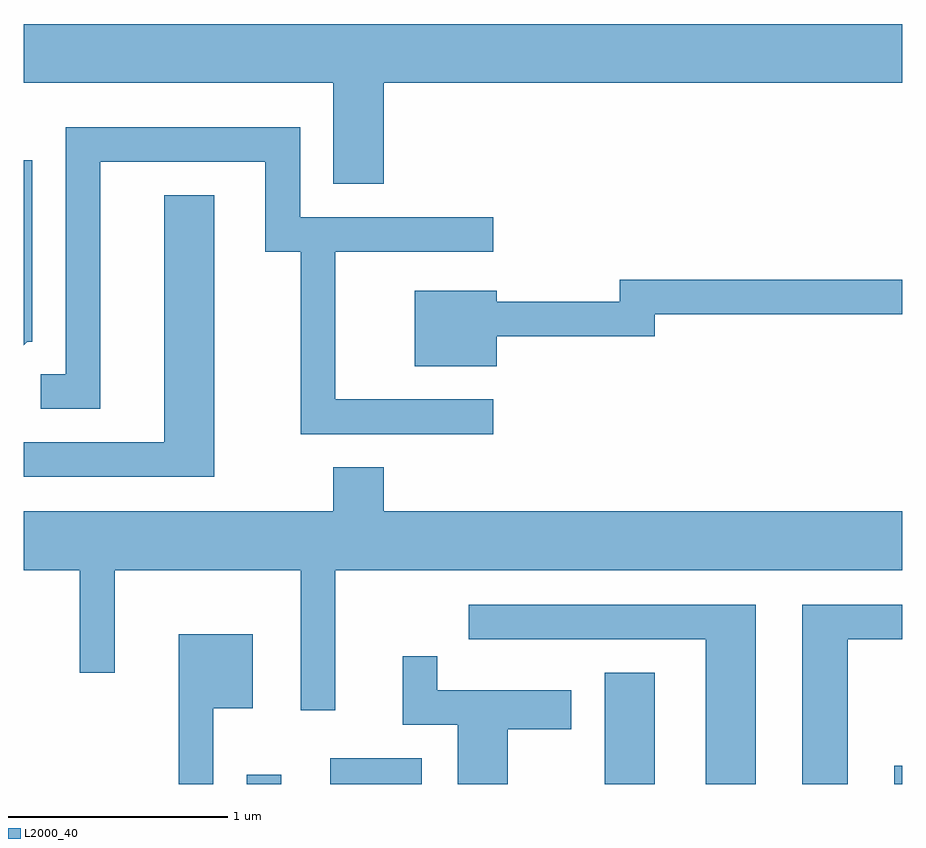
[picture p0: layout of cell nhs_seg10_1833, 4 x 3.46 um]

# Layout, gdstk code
import gdstk
lib = gdstk.Library(unit=1e-6, precision=1e-09)
def R(c, l, rs):  # rectangles x0, y0, x1, y1
    for r in rs: c.add(gdstk.rectangle(r[:2], r[2:], *l))
def P(c, l, *ps):  # polygons
    for p in ps: c.add(gdstk.Polygon(p, *l))
L2000_40 = (2000, 40)

nhs_seg10_1833 = lib.new_cell('nhs_seg10_1833')
R(nhs_seg10_1833, L2000_40, [(240.626,2088.522,240.784,2088.563), (241.006,2088.522,241.424,2088.639), (242.256,2088.522,242.484,2089.029), (243.576,2088.522,243.611,2088.604)])
P(nhs_seg10_1833, L2000_40, [(241.249,2091.716),(243.611,2091.716),(243.611,2091.984),(239.611,2091.984),(239.611,2091.716),(241.021,2091.716),(241.021,2091.256),(241.249,2091.256)],
  [(241.748,2090.274),(241.029,2090.274),(241.029,2090.946),(241.748,2090.946),(241.748,2091.104),(240.869,2091.104),(240.869,2091.514),(239.801,2091.514),(239.801,2090.389),(239.688,2090.389),(239.688,2090.231),(239.959,2090.231),(239.959,2091.356),(240.711,2091.356),(240.711,2090.946),(240.871,2090.946),(240.871,2090.116),(241.748,2090.116)],
  [(239.627,2090.536),(239.649,2090.536),(239.649,2091.364),(239.611,2091.364),(239.611,2090.52)],
  [(240.479,2091.204),(240.251,2091.204),(240.251,2090.079),(239.611,2090.079),(239.611,2089.921),(240.479,2089.921)],
  [(241.764,2090.561),(242.484,2090.561),(242.484,2090.661),(243.611,2090.661),(243.611,2090.819),(242.326,2090.819),(242.326,2090.719),(241.764,2090.719),(241.764,2090.769),(241.391,2090.769),(241.391,2090.426),(241.764,2090.426)],
  [(241.029,2089.496),(243.611,2089.496),(243.611,2089.764),(241.249,2089.764),(241.249,2089.964),(241.021,2089.964),(241.021,2089.764),(239.611,2089.764),(239.611,2089.496),(239.866,2089.496),(239.866,2089.028),(240.024,2089.028),(240.024,2089.496),(240.871,2089.496),(240.871,2088.858),(241.029,2088.858)],
  [(243.364,2089.181),(243.611,2089.181),(243.611,2089.339),(243.156,2089.339),(243.156,2088.522),(243.364,2088.522)],
  [(242.944,2089.339),(241.638,2089.339),(241.638,2089.181),(242.716,2089.181),(242.716,2088.522),(242.944,2088.522)],
  [(240.474,2088.866),(240.654,2088.866),(240.654,2089.204),(240.316,2089.204),(240.316,2088.522),(240.474,2088.522)],
  [(241.814,2088.771),(242.104,2088.771),(242.104,2088.949),(241.494,2088.949),(241.494,2089.103),(241.336,2089.103),(241.336,2088.791),(241.586,2088.791),(241.586,2088.522),(241.814,2088.522)])

lib.write_gds('nhs_seg10_1833.gds')
